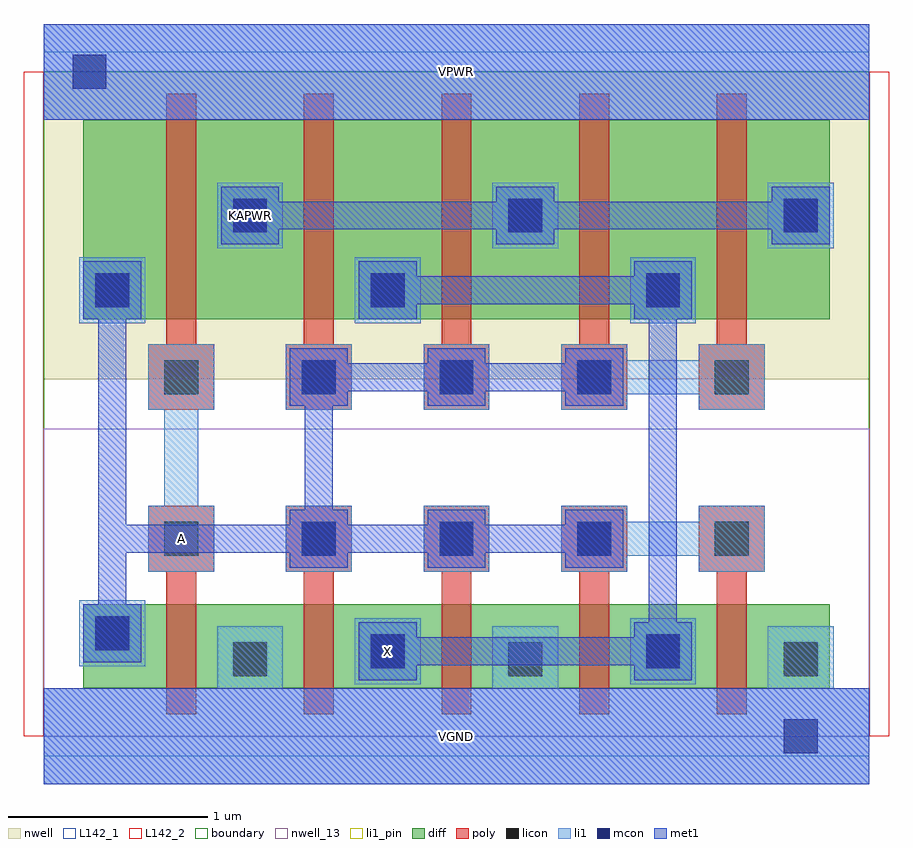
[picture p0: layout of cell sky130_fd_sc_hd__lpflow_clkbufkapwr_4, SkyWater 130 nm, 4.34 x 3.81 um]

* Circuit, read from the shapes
.subckt sky130_fd_sc_hd__lpflow_clkbufkapwr_4 A KAPWR VGND VPWR X
XM1 VGND A n1 VSUBS sky130_fd_pr__nfet_01v8 w=0.42 l=0.15
XM2 X n1 VGND VSUBS sky130_fd_pr__nfet_01v8 w=0.42 l=0.15 m=4
XM3 KAPWR A n1 n2 sky130_fd_pr__pfet_01v8 w=1 l=0.15
XM4 X n1 KAPWR n2 sky130_fd_pr__pfet_01v8 w=1 l=0.15 m=4
.ends

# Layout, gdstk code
import gdstk
lib = gdstk.Library(unit=1e-6, precision=1e-09)
def R(c, l, rs):  # rectangles x0, y0, x1, y1
    for r in rs: c.add(gdstk.rectangle(r[:2], r[2:], *l))
def A(c, l, x, y, w, h, nx, ny, dx, dy):  # array of equal rectangles
    R(c, l, [(x+i*dx, y+j*dy, x+i*dx+w, y+j*dy+h) for i in range(nx) for j in range(ny)])
def P(c, l, *ps):  # polygons
    for p in ps: c.add(gdstk.Polygon(p, *l))
nwell_13 = (64, 13)
nwell = (64, 20)
diff = (65, 20)
poly = (66, 20)
licon = (66, 44)
li1_pin = (67, 16)
li1 = (67, 20)
mcon = (67, 44)
met1 = (68, 20)
L142_1 = (142, 1)
L142_2 = (142, 2)
boundary = (235, 4)

sky130_fd_sc_hd__lpflow_ = lib.new_cell('sky130_fd_sc_hd__lpflow_clkbufkapwr_4')
R(sky130_fd_sc_hd__lpflow_, nwell_13, [(0,0,4.14,1.54)])
R(sky130_fd_sc_hd__lpflow_, nwell, [(0,1.79,4.14,3.33)])
A(sky130_fd_sc_hd__lpflow_, diff, 0.615, 0.24, 0.69, 0.42, 4, 1, 0.69, 0)
A(sky130_fd_sc_hd__lpflow_, diff, 0.615, 2.09, 0.69, 1, 4, 1, 0.69, 0)
R(sky130_fd_sc_hd__lpflow_, diff, [(0.2,0.24,3.94,0.66), (0.2,0.24,0.615,0.66), (3.375,0.24,3.94,0.66), (0.2,2.09,3.94,3.09), (0.2,2.09,0.615,3.09), (3.375,2.09,3.94,3.09)])
P(sky130_fd_sc_hd__lpflow_, poly, [(0.615,0.11),(0.615,0.825),(0.525,0.825),(0.525,1.155),(0.855,1.155),(0.855,0.825),(0.765,0.825),(0.765,0.11)],
  [(0.525,1.635),(0.525,1.965),(0.615,1.965),(0.615,3.22),(0.765,3.22),(0.765,1.965),(0.855,1.965),(0.855,1.635)],
  [(1.305,0.11),(1.305,0.825),(1.215,0.825),(1.215,1.155),(1.545,1.155),(1.545,0.825),(1.455,0.825),(1.455,0.11)],
  [(1.995,0.11),(1.995,0.825),(1.905,0.825),(1.905,1.155),(2.235,1.155),(2.235,0.825),(2.145,0.825),(2.145,0.11)],
  [(2.685,0.11),(2.685,0.825),(2.595,0.825),(2.595,1.155),(2.925,1.155),(2.925,0.825),(2.835,0.825),(2.835,0.11)],
  [(3.375,0.11),(3.375,0.825),(3.285,0.825),(3.285,1.155),(3.615,1.155),(3.615,0.825),(3.525,0.825),(3.525,0.11)],
  [(1.215,1.635),(1.215,1.965),(1.305,1.965),(1.305,3.22),(1.455,3.22),(1.455,1.965),(1.545,1.965),(1.545,1.635)],
  [(1.905,1.635),(1.905,1.965),(1.995,1.965),(1.995,3.22),(2.145,3.22),(2.145,1.965),(2.235,1.965),(2.235,1.635)],
  [(2.595,1.635),(2.595,1.965),(2.685,1.965),(2.685,3.22),(2.835,3.22),(2.835,1.965),(2.925,1.965),(2.925,1.635)],
  [(3.285,1.635),(3.285,1.965),(3.375,1.965),(3.375,3.22),(3.525,3.22),(3.525,1.965),(3.615,1.965),(3.615,1.635)])
A(sky130_fd_sc_hd__lpflow_, licon, 0.95, 0.3, 0.17, 0.17, 3, 2, 1.38, 2.225)
A(sky130_fd_sc_hd__lpflow_, licon, 0.605, 0.905, 0.17, 0.17, 5, 2, 0.69, 0.81)
A(sky130_fd_sc_hd__lpflow_, licon, 0.26, 2.15, 0.17, 0.17, 3, 1, 1.38, 0)
R(sky130_fd_sc_hd__lpflow_, licon, [(1.64,0.34,1.81,0.51), (3.02,0.34,3.19,0.51), (0.26,0.43,0.43,0.6)])
R(sky130_fd_sc_hd__lpflow_, li1_pin, [(0,-0.24,4.14,0.24), (1.56,0.26,1.89,0.59), (0.87,2.445,1.2,2.775), (0,3.09,4.14,3.57)])
P(sky130_fd_sc_hd__lpflow_, li1_pin, [(0.525,0.825),(0.525,1.155),(0.605,1.155),(0.605,1.635),(0.525,1.635),(0.525,1.965),(0.855,1.965),(0.855,1.635),(0.775,1.635),(0.775,1.155),(0.855,1.155),(0.855,0.825)])
A(sky130_fd_sc_hd__lpflow_, li1, 0.18, 2.07, 0.33, 0.33, 3, 1, 1.38, 0)
A(sky130_fd_sc_hd__lpflow_, li1, 0.87, 2.445, 0.33, 0.33, 3, 1, 1.38, 0)
R(sky130_fd_sc_hd__lpflow_, li1, [(1.56,0.26,1.89,0.59), (2.94,0.26,3.27,0.59), (0.18,0.35,0.51,0.68), (1.215,0.825,1.545,1.155), (1.905,0.825,2.235,1.155), (1.215,1.635,1.545,1.965), (1.905,1.635,2.235,1.965), (0,3.09,4.14,3.57)])
P(sky130_fd_sc_hd__lpflow_, li1, [(0,-0.24),(0,0.24),(0.87,0.24),(0.87,0.55),(1.2,0.55),(1.2,0.24),(2.25,0.24),(2.25,0.55),(2.58,0.55),(2.58,0.24),(3.63,0.24),(3.63,0.55),(3.96,0.55),(3.96,0.24),(4.14,0.24),(4.14,-0.24)],
  [(0.525,0.825),(0.525,1.155),(0.605,1.155),(0.605,1.635),(0.525,1.635),(0.525,1.965),(0.855,1.965),(0.855,1.635),(0.775,1.635),(0.775,1.155),(0.855,1.155),(0.855,0.825)],
  [(2.595,0.825),(2.595,1.155),(2.925,1.155),(2.925,1.075),(3.285,1.075),(3.285,1.155),(3.615,1.155),(3.615,0.825),(3.285,0.825),(3.285,0.905),(2.925,0.905),(2.925,0.825)],
  [(2.595,1.635),(2.595,1.965),(2.925,1.965),(2.925,1.885),(3.285,1.885),(3.285,1.965),(3.615,1.965),(3.615,1.635),(3.285,1.635),(3.285,1.715),(2.925,1.715),(2.925,1.635)])
A(sky130_fd_sc_hd__lpflow_, mcon, 1.295, 0.905, 0.17, 0.17, 3, 2, 0.69, 0.81)
A(sky130_fd_sc_hd__lpflow_, mcon, 0.26, 2.15, 0.17, 0.17, 3, 1, 1.38, 0)
A(sky130_fd_sc_hd__lpflow_, mcon, 0.95, 2.525, 0.17, 0.17, 3, 1, 1.38, 0)
R(sky130_fd_sc_hd__lpflow_, mcon, [(3.71,-0.085,3.88,0.085), (1.64,0.34,1.81,0.51), (3.02,0.34,3.19,0.51), (0.26,0.43,0.43,0.6), (0.145,3.245,0.315,3.415)])
R(sky130_fd_sc_hd__lpflow_, met1, [(0,-0.24,4.14,0.24), (0,3.09,4.14,3.57)])
P(sky130_fd_sc_hd__lpflow_, met1, [(0.2,0.37),(0.2,0.66),(0.275,0.66),(0.275,2.09),(0.2,2.09),(0.2,2.38),(0.49,2.38),(0.49,2.09),(0.415,2.09),(0.415,1.06),(1.235,1.06),(1.235,1.135),(1.31,1.135),(1.31,1.655),(1.235,1.655),(1.235,1.945),(1.525,1.945),(1.525,1.87),(1.925,1.87),(1.925,1.945),(2.215,1.945),(2.215,1.87),(2.615,1.87),(2.615,1.945),(2.905,1.945),(2.905,1.655),(2.615,1.655),(2.615,1.73),(2.215,1.73),(2.215,1.655),(1.925,1.655),(1.925,1.73),(1.525,1.73),(1.525,1.655),(1.45,1.655),(1.45,1.135),(1.525,1.135),(1.525,1.06),(1.925,1.06),(1.925,1.135),(2.215,1.135),(2.215,1.06),(2.615,1.06),(2.615,1.135),(2.905,1.135),(2.905,0.845),(2.615,0.845),(2.615,0.92),(2.215,0.92),(2.215,0.845),(1.925,0.845),(1.925,0.92),(1.525,0.92),(1.525,0.845),(1.235,0.845),(1.235,0.92),(0.415,0.92),(0.415,0.66),(0.49,0.66),(0.49,0.37)],
  [(1.58,0.28),(1.58,0.57),(1.87,0.57),(1.87,0.495),(2.96,0.495),(2.96,0.57),(3.035,0.57),(3.035,2.09),(2.96,2.09),(2.96,2.165),(1.87,2.165),(1.87,2.09),(1.58,2.09),(1.58,2.38),(1.87,2.38),(1.87,2.305),(2.96,2.305),(2.96,2.38),(3.25,2.38),(3.25,2.09),(3.175,2.09),(3.175,0.57),(3.25,0.57),(3.25,0.28),(2.96,0.28),(2.96,0.355),(1.87,0.355),(1.87,0.28)],
  [(0.89,2.465),(0.89,2.755),(1.18,2.755),(1.18,2.68),(2.27,2.68),(2.27,2.755),(2.56,2.755),(2.56,2.68),(3.65,2.68),(3.65,2.755),(3.94,2.755),(3.94,2.465),(3.65,2.465),(3.65,2.54),(2.56,2.54),(2.56,2.465),(2.27,2.465),(2.27,2.54),(1.18,2.54),(1.18,2.465)])
R(sky130_fd_sc_hd__lpflow_, L142_1, [(0,-0.1,4.14,0), (0,3.33,4.14,3.43)])
R(sky130_fd_sc_hd__lpflow_, L142_2, [(-0.1,0,0,3.33), (4.14,0,4.24,3.33)])
R(sky130_fd_sc_hd__lpflow_, boundary, [(0,0,4.14,3.33)])
sky130_fd_sc_hd__lpflow_.add(gdstk.Label('X', (1.725,0.425), layer=67, texttype=5))
sky130_fd_sc_hd__lpflow_.add(gdstk.Label('KAPWR', (1.035,2.61), layer=67, texttype=5))
sky130_fd_sc_hd__lpflow_.add(gdstk.Label('A', (0.69,0.99), layer=67, texttype=5))
sky130_fd_sc_hd__lpflow_.add(gdstk.Label('VGND', (2.07,0), layer=67, texttype=5))
sky130_fd_sc_hd__lpflow_.add(gdstk.Label('VPWR', (2.07,3.33), layer=67, texttype=5))
sky130_fd_sc_hd__lpflow_.add(gdstk.Label('VGND', (2.07,0), layer=68, texttype=5))
sky130_fd_sc_hd__lpflow_.add(gdstk.Label('VPWR', (2.07,3.33), layer=68, texttype=5))

lib.write_gds('sky130_fd_sc_hd__lpflow_clkbufkapwr_4.gds')
